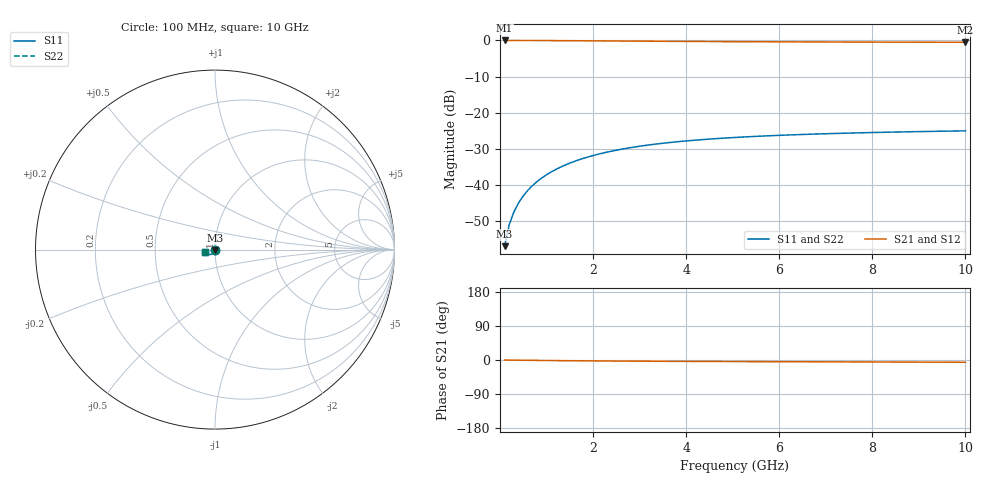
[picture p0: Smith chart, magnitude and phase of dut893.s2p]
! Touchstone file exported from HFSS 2024.1.0
!  File:  C:/UserFiles/LocalFiles/RDL_TSV_Batchsim/temp_TSV1_893_1779885170.aedt
!  Generated:  08:37:59 PM May 27, 2026
!  Design:  TSV1
!  Project:  temp_TSV1_893_1779885170
!  Setup:  Setup1
!  Solution:  Sweep
! Variables:
!  dtsv = 9.52um
!  hbump = 3um
!  htsv = 94.61um
!  lrdl = 252.1521522um
!  p = 40
!  p1 = 41.48um
!  t = 500um
!  trdl = 3um
!  wrdl = 24.89489489um
# GHz S MA R 50.000000
! Terminal data exported
! Port[1] = TSV22_T1
! Port[2] = TSV22_T2
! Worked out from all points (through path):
!   100 points, 100 MHz to 10 GHz, reference 50 ohm
!   highest |S21| = 0.00 dB at 100 MHz (marker M1); lowest = -0.5 dB at 10 GHz (marker M2)
!   lowest |S11| = -56.9 dB at 100 MHz (marker M3), VSWR 1.00, Z = 50 - j0.142 ohm
!   |S11| at or under -10 dB: start of sweep to end of sweep
!   |S22| runs from -56.9 to -25.0 dB; largest |S21 - S12| = 3e-15
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0.1  0.001423 -84.2  0.9998 -0.1  0.9998 -0.1  0.001423 -84.2
! Gamma 0 0 0 0
! Port Impedance 50 0 50 0
0.2  0.002831 -89.2  0.9996 -0.3  0.9996 -0.3  0.002831 -89.2
0.3  0.004243 -91.8  0.9994 -0.4  0.9994 -0.4  0.004243 -91.8
0.4  0.005653 -93.9  0.9992 -0.5  0.9992 -0.5  0.005653 -93.9
0.5  0.007055 -95.8  0.9988 -0.7  0.9988 -0.7  0.007055 -95.8
0.6  0.008446 -97.6  0.9984 -0.8  0.9984 -0.8  0.008446 -97.6
0.7  0.009821 -99.3  0.9979 -0.9  0.9979 -0.9  0.009821 -99.3
0.8  0.01118 -100.9  0.9974 -1.1  0.9974 -1.1  0.01118 -100.9
0.9  0.01252 -102.5  0.9968 -1.2  0.9968 -1.2  0.01252 -102.5
1.1  0.01513 -105.6  0.9954 -1.4  0.9954 -1.4  0.01513 -105.6
1.4  0.01886 -110.0  0.9931 -1.8  0.9931 -1.8  0.01885 -110.0
1.6  0.0212 -112.8  0.9914 -2.0  0.9914 -2.0  0.0212 -112.8
1.8  0.02343 -115.4  0.9895 -2.2  0.9895 -2.2  0.02343 -115.4
2.1  0.02655 -119.3  0.9867 -2.4  0.9867 -2.4  0.02655 -119.3
2.5  0.03029 -124.0  0.9828 -2.8  0.9828 -2.8  0.03029 -124.0
2.9  0.03359 -128.3  0.979 -3.0  0.979 -3.0  0.03359 -128.3
3.4  0.03713 -133.2  0.9744 -3.4  0.9744 -3.4  0.03713 -133.2
4.2  0.04171 -140.0  0.9679 -3.8  0.9679 -3.8  0.04171 -140.0
5.1  0.04563 -146.4  0.9618 -4.2  0.9618 -4.2  0.04563 -146.4
6.7  0.05047 -155.5  0.9537 -4.8  0.9537 -4.8  0.05047 -155.5
8.4  0.05384 -163.0  0.9478 -5.3  0.9478 -5.3  0.05384 -163.0
10  0.05608 -168.8  0.9438 -5.9  0.9438 -5.9  0.05608 -168.8
